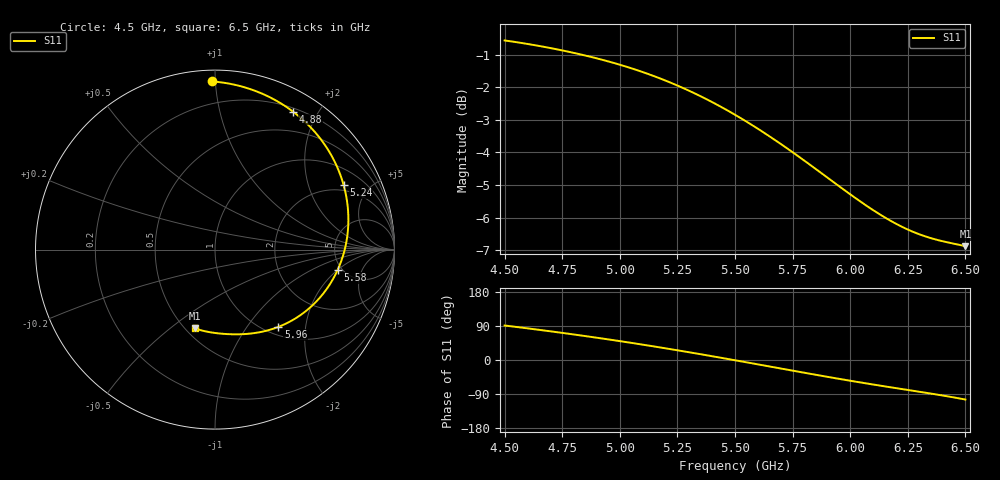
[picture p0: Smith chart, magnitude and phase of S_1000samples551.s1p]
! TOUCHSTONE file generated by CST MICROWAVE STUDIO
! Date and time: Fri Oct 28 13:38:43 2022
! Project name: L.cst
! Parameters = {Di=1.27; Epsilon_r=1.56; InnerDiameter=1.27; Length=2; Lf=10; Lg=60; OuterConductorThickness=0.2921; OuterDiameter=3.6; Wf=3; Wp=41.2; de=1.5; df=6.8; g=0.8; gx=1.78565; gy=3.92128; h=2.34; hf=1.524; px=10.7604; py=12.6376; w=9.7; wx=8.9748; wy=8.71636}
! Header version: 2018
! Port assignment regex: !\s*Touchstone port\s*([0-9]+)\s*=\s*(CST MWS port|CST DS port)\s*([0-9]+|Zmin|Zmax)\s*\(\"(.*)\"\)(\s*mode\s*([0-9]+))?.*
! Touchstone port assignment:
! Touchstone port 1 = CST MWS port 1 ("")
# GHz S DB R 50
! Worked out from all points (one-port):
!   101 points, 4.5 GHz to 6.5 GHz, reference 50 ohm
!   lowest |S11| = -6.9 dB at 6.5 GHz (marker M1), VSWR 2.66, Z = 27.8 - j30.7 ohm
!   |S11| at or under -10 dB: nowhere
!   S11 on the Smith chart (normalised r, x): 4.5 GHz: 0.06, +0.98; 4.88 GHz: 0.24, +1.69; 5.24 GHz: 1.70, +3.43; 5.58 GHz: 4.60, -2.00; 5.96 GHz: 1.14, -1.43; 6.5 GHz: 0.56, -0.61
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4.5  -0.57 91.1
4.58  -0.65 85.0
4.64  -0.72 80.4
4.7  -0.80 75.6
4.76  -0.89 70.7
4.82  -0.98 65.7
4.88  -1.08 60.6
4.94  -1.19 55.3
5  -1.31 49.8
5.06  -1.44 44.2
5.12  -1.59 38.5
5.18  -1.75 32.6
5.24  -1.92 26.6
5.26  -1.98 24.6
5.32  -2.17 18.4
5.38  -2.38 12.2
5.44  -2.61 5.8
5.5  -2.85 -0.7
5.58  -3.19 -9.4
5.68  -3.65 -20.4
5.76  -4.05 -29.2
5.86  -4.56 -40.0
5.96  -5.08 -50.6
6  -5.29 -54.7
6.12  -5.86 -66.7
6.26  -6.40 -80.0
6.4  -6.73 -93.6
6.5  -6.88 -104.4
